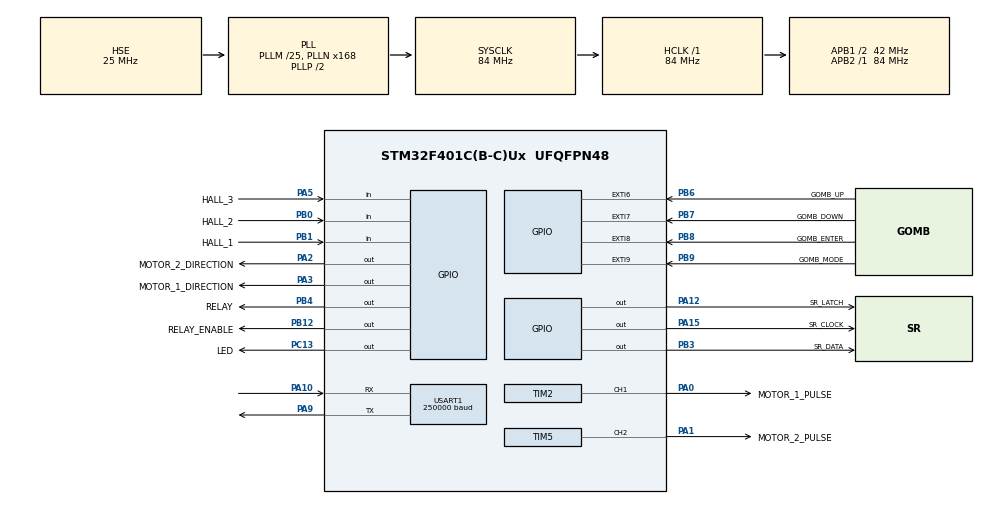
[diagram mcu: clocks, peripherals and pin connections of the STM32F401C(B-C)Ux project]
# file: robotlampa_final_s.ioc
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Mcu.Family=STM32F4
Mcu.Name=STM32F401C(B-C)Ux
Mcu.Package=UFQFPN48
NVIC.EXTI9_5_IRQn=true\:0\:0\:false\:false\:true\:true\:true\:true
NVIC.PriorityGroup=NVIC_PRIORITYGROUP_4
NVIC.TIM2_IRQn=true\:0\:0\:false\:false\:true\:true\:true\:true
NVIC.TIM5_IRQn=true\:0\:0\:false\:false\:true\:true\:true\:true
NVIC.USART1_IRQn=true\:0\:0\:false\:false\:true\:true\:true\:true
PA0-WKUP.GPIO_Label=MOTOR_1_PULSE
PA0-WKUP.GPIO_Speed=GPIO_SPEED_FREQ_VERY_HIGH
PA0-WKUP.Signal=S_TIM2_CH1_ETR
PA1.GPIO_Label=MOTOR_2_PULSE
PA1.GPIO_Speed=GPIO_SPEED_FREQ_VERY_HIGH
PA1.Signal=S_TIM5_CH2
PA10.Mode=Asynchronous
PA10.Signal=USART1_RX
PA12.GPIO_Label=SR_LATCH
PA12.GPIO_Speed=GPIO_SPEED_FREQ_VERY_HIGH
PA12.Signal=GPIO_Output
PA13.Mode=Serial_Wire
PA13.Signal=SYS_JTMS-SWDIO
PA14.Mode=Serial_Wire
PA14.Signal=SYS_JTCK-SWCLK
PA15.GPIO_Label=SR_CLOCK
PA15.GPIO_Speed=GPIO_SPEED_FREQ_VERY_HIGH
PA15.Signal=GPIO_Output
PA2.GPIO_Label=MOTOR_2_DIRECTION
PA2.GPIO_Speed=GPIO_SPEED_FREQ_VERY_HIGH
PA2.Signal=GPIO_Output
PA3.GPIO_Label=MOTOR_1_DIRECTION
PA3.GPIO_Speed=GPIO_SPEED_FREQ_VERY_HIGH
PA3.Signal=GPIO_Output
PA5.GPIO_Label=HALL_3
PA5.Signal=GPIO_Input
PA9.Mode=Asynchronous
PA9.Signal=USART1_TX
PB0.GPIO_Label=HALL_2
PB0.Signal=GPIO_Input
PB1.GPIO_Label=HALL_1
PB1.Signal=GPIO_Input
PB12.GPIO_Label=RELAY_ENABLE
PB12.GPIO_ModeDefaultOutputPP=GPIO_MODE_OUTPUT_OD
PB12.GPIO_PuPd=GPIO_NOPULL
PB12.PinState=GPIO_PIN_SET
PB12.Signal=GPIO_Output
PB3.GPIO_Label=SR_DATA
PB3.GPIO_Speed=GPIO_SPEED_FREQ_VERY_HIGH
PB3.Signal=GPIO_Output
PB4.GPIO_Label=RELAY
PB4.GPIO_Speed=GPIO_SPEED_FREQ_VERY_HIGH
PB4.Signal=GPIO_Output
PB6.GPIO_Label=GOMB_UP
PB6.GPIO_ModeDefaultEXTI=GPIO_MODE_IT_RISING_FALLING
PB6.GPIO_PuPd=GPIO_PULLUP
PB6.Signal=GPXTI6
PB7.GPIO_Label=GOMB_DOWN
PB7.GPIO_ModeDefaultEXTI=GPIO_MODE_IT_RISING_FALLING
PB7.GPIO_PuPd=GPIO_PULLUP
PB7.Signal=GPXTI7
PB8.GPIO_Label=GOMB_ENTER
PB8.GPIO_ModeDefaultEXTI=GPIO_MODE_IT_RISING_FALLING
PB8.GPIO_PuPd=GPIO_PULLUP
PB8.Signal=GPXTI8
PB9.GPIO_Label=GOMB_MODE
PB9.GPIO_ModeDefaultEXTI=GPIO_MODE_IT_RISING_FALLING
PB9.GPIO_PuPd=GPIO_PULLUP
PB9.Signal=GPXTI9
PC13-ANTI_TAMP.GPIO_Label=LED
PC13-ANTI_TAMP.GPIO_Speed=GPIO_SPEED_FREQ_LOW
PC13-ANTI_TAMP.Signal=GPIO_Output
PH0\ -\ OSC_IN.Mode=HSE-External-Oscillator
PH0\ -\ OSC_IN.Signal=RCC_OSC_IN
PH1\ -\ OSC_OUT.Mode=HSE-External-Oscillator
PH1\ -\ OSC_OUT.Signal=RCC_OSC_OUT
ProjectManager.HeapSize=0x200
ProjectManager.StackSize=0x400
ProjectManager.TargetToolchain=STM32CubeIDE
RCC.48MHZClocksFreq_Value=42000000
RCC.AHBFreq_Value=84000000
RCC.APB1CLKDivider=RCC_HCLK_DIV2
RCC.APB1Freq_Value=42000000
RCC.APB1TimFreq_Value=84000000
RCC.APB2Freq_Value=84000000
RCC.APB2TimFreq_Value=84000000
RCC.CortexFreq_Value=84000000
RCC.HCLKFreq_Value=84000000
RCC.HSE_Timout=1000
RCC.HSE_VALUE=25000000
RCC.HSI_VALUE=16000000
RCC.LSE_Timout=10000
RCC.LSE_VALUE=32768
RCC.PLLM=25
RCC.PLLN=168
RCC.PLLSourceVirtual=RCC_PLLSOURCE_HSE
RCC.RCC_TIM_PRescaler_Selection=RCC_TIMPRES_DESACTIVATED
RCC.SYSCLKFreq_VALUE=84000000
RCC.SYSCLKSource=RCC_SYSCLKSOURCE_PLLCLK
RCC.VCOOutputFreq_Value=168000000
SH.S_TIM2_CH1_ETR.0=TIM2_CH1,PWM Generation1 CH1
SH.S_TIM5_CH2.0=TIM5_CH2,PWM Generation2 CH2
TIM2.AutoReloadPreload=TIM_AUTORELOAD_PRELOAD_ENABLE
TIM2.Channel-PWM\ Generation1\ CH1=TIM_CHANNEL_1
TIM2.OCMode_PWM-PWM\ Generation1\ CH1=TIM_OCMODE_PWM1
TIM2.Period=840000
TIM2.Prescaler=0
TIM5.AutoReloadPreload=TIM_AUTORELOAD_PRELOAD_ENABLE
TIM5.Channel-PWM\ Generation2\ CH2=TIM_CHANNEL_2
TIM5.Period=840000
USART1.BaudRate=250000
USART1.StopBits=STOPBITS_2
USART1.VirtualMode=VM_ASYNC
VP_TIM2_VS_ClockSourceINT.Mode=Internal
board=custom

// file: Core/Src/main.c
/* USER CODE BEGIN Header */
/**
  ******************************************************************************
  * @file           : main.c
  * @brief          : Main program body
  ******************************************************************************
  * @attention
  *
  * Copyright (c) 2025 STMicroelectronics.
  * All rights reserved.
  *
  * This software is licensed under terms that can be found in the LICENSE file
  * in the root directory of this software component.
  * If no LICENSE file comes with this software, it is provided AS-IS.
  *
  ******************************************************************************
  */
/* USER CODE END Header */
#include "main.h"

/* USER CODE BEGIN Includes */
#include <my_main.h>
#include <interrupt_s.h>
#include <dmx_usart_s.h>
#include <motor_1_drive_s.h>
#include <motor_2_drive_s.h>
/* USER CODE END Includes */

TIM_HandleTypeDef htim2;
TIM_HandleTypeDef htim5;

UART_HandleTypeDef huart1;

/* USER CODE BEGIN PV */
uint8_t rx_buffer;

/* USER CODE END PV */

void SystemClock_Config(void);
static void MX_GPIO_Init(void);
static void MX_TIM2_Init(void);
static void MX_TIM5_Init(void);
static void MX_USART1_UART_Init(void);

int main(void)
{

  /* MCU Configuration--------------------------------------------------------*/

  /* Reset of all peripherals, Initializes the Flash interface and the Systick. */
  HAL_Init();

  /* Configure the system clock */
  SystemClock_Config();

  /* Initialize all configured peripherals */
  MX_GPIO_Init();
  MX_TIM2_Init();
  MX_TIM5_Init();
  MX_USART1_UART_Init();
  /* USER CODE BEGIN 2 */

  my_main_init();

  HAL_UART_Receive_IT(&huart1, &rx_buffer, 1);
  HAL_TIM_Base_Start_IT(&htim2);
  HAL_TIM_Base_Start_IT(&htim5);

  __HAL_TIM_SET_COMPARE(&htim2, TIM_CHANNEL_1, PWM_ON_DUTY); // set pwm duty
  HAL_TIM_PWM_Start(&htim2, TIM_CHANNEL_1);					 // start tim2 pwm channel
  htim2.Instance->CR1 &= ~TIM_CR1_ARPE; 					 // ARPE = 0 → shadow OFF

  __HAL_TIM_SET_COMPARE(&htim5, TIM_CHANNEL_2, PWM_ON_DUTY); // set pwm duty
  HAL_TIM_PWM_Start(&htim5, TIM_CHANNEL_2);					 // start tim5 pwm channel

  htim5.Instance->CR1 &= ~TIM_CR1_ARPE; 					 // ARPE = 0 → shadow OFF
  HAL_GPIO_WritePin(RELAY_ENABLE_GPIO_Port, RELAY_ENABLE_Pin, 0);

  /* USER CODE END 2 */

  /* Infinite loop */
  /* USER CODE BEGIN WHILE */
  while (1)
  {
	  my_main_loop();
    /* USER CODE END WHILE */

  }
}

void SystemClock_Config(void)
{
  RCC_OscInitTypeDef RCC_OscInitStruct = {0};
  RCC_ClkInitTypeDef RCC_ClkInitStruct = {0};

  /** Configure the main internal regulator output voltage
  */
  __HAL_RCC_PWR_CLK_ENABLE();
  __HAL_PWR_VOLTAGESCALING_CONFIG(PWR_REGULATOR_VOLTAGE_SCALE2);

  /** Initializes the RCC Oscillators according to the specified parameters
  * in the RCC_OscInitTypeDef structure.
  */
  RCC_OscInitStruct.OscillatorType = RCC_OSCILLATORTYPE_HSE;
  RCC_OscInitStruct.HSEState = RCC_HSE_ON;
  RCC_OscInitStruct.PLL.PLLState = RCC_PLL_ON;
  RCC_OscInitStruct.PLL.PLLSource = RCC_PLLSOURCE_HSE;
  RCC_OscInitStruct.PLL.PLLM = 25;
  RCC_OscInitStruct.PLL.PLLN = 168;
  RCC_OscInitStruct.PLL.PLLP = RCC_PLLP_DIV2;
  RCC_OscInitStruct.PLL.PLLQ = 4;
  if (HAL_RCC_OscConfig(&RCC_OscInitStruct) != HAL_OK)
  {
    Error_Handler();
  }

  /** Initializes the CPU, AHB and APB buses clocks
  */
  RCC_ClkInitStruct.ClockType = RCC_CLOCKTYPE_HCLK|RCC_CLOCKTYPE_SYSCLK
                              |RCC_CLOCKTYPE_PCLK1|RCC_CLOCKTYPE_PCLK2;
  RCC_ClkInitStruct.SYSCLKSource = RCC_SYSCLKSOURCE_PLLCLK;
  RCC_ClkInitStruct.AHBCLKDivider = RCC_SYSCLK_DIV1;
  RCC_ClkInitStruct.APB1CLKDivider = RCC_HCLK_DIV2;
  RCC_ClkInitStruct.APB2CLKDivider = RCC_HCLK_DIV1;

  if (HAL_RCC_ClockConfig(&RCC_ClkInitStruct, FLASH_LATENCY_2) != HAL_OK)
  {
    Error_Handler();
  }
}

static void MX_TIM2_Init(void)
{

  TIM_ClockConfigTypeDef sClockSourceConfig = {0};
  TIM_MasterConfigTypeDef sMasterConfig = {0};
  TIM_OC_InitTypeDef sConfigOC = {0};

  htim2.Instance = TIM2;
  htim2.Init.Prescaler = 0;
  htim2.Init.CounterMode = TIM_COUNTERMODE_UP;
  htim2.Init.Period = 840000;
  htim2.Init.ClockDivision = TIM_CLOCKDIVISION_DIV1;
  htim2.Init.AutoReloadPreload = TIM_AUTORELOAD_PRELOAD_ENABLE;
  if (HAL_TIM_Base_Init(&htim2) != HAL_OK)
  {
    Error_Handler();
  }
  sClockSourceConfig.ClockSource = TIM_CLOCKSOURCE_INTERNAL;
  if (HAL_TIM_ConfigClockSource(&htim2, &sClockSourceConfig) != HAL_OK)
  {
    Error_Handler();
  }
  if (HAL_TIM_PWM_Init(&htim2) != HAL_OK)
  {
    Error_Handler();
  }
  sMasterConfig.MasterOutputTrigger = TIM_TRGO_RESET;
  sMasterConfig.MasterSlaveMode = TIM_MASTERSLAVEMODE_DISABLE;
  if (HAL_TIMEx_MasterConfigSynchronization(&htim2, &sMasterConfig) != HAL_OK)
  {
    Error_Handler();
  }
  sConfigOC.OCMode = TIM_OCMODE_PWM1;
  sConfigOC.Pulse = 0;
  sConfigOC.OCPolarity = TIM_OCPOLARITY_HIGH;
  sConfigOC.OCFastMode = TIM_OCFAST_DISABLE;
  if (HAL_TIM_PWM_ConfigChannel(&htim2, &sConfigOC, TIM_CHANNEL_1) != HAL_OK)
  {
    Error_Handler();
  }
  HAL_TIM_MspPostInit(&htim2);

}

static void MX_TIM5_Init(void)
{

  TIM_MasterConfigTypeDef sMasterConfig = {0};
  TIM_OC_InitTypeDef sConfigOC = {0};

  htim5.Instance = TIM5;
  htim5.Init.Prescaler = 0;
  htim5.Init.CounterMode = TIM_COUNTERMODE_UP;
  htim5.Init.Period = 840000;
  htim5.Init.ClockDivision = TIM_CLOCKDIVISION_DIV1;
  htim5.Init.AutoReloadPreload = TIM_AUTORELOAD_PRELOAD_ENABLE;
  if (HAL_TIM_PWM_Init(&htim5) != HAL_OK)
  {
    Error_Handler();
  }
  sMasterConfig.MasterOutputTrigger = TIM_TRGO_RESET;
  sMasterConfig.MasterSlaveMode = TIM_MASTERSLAVEMODE_DISABLE;
  if (HAL_TIMEx_MasterConfigSynchronization(&htim5, &sMasterConfig) != HAL_OK)
  {
    Error_Handler();
  }
  sConfigOC.OCMode = TIM_OCMODE_PWM1;
  sConfigOC.Pulse = 0;
  sConfigOC.OCPolarity = TIM_OCPOLARITY_HIGH;
  sConfigOC.OCFastMode = TIM_OCFAST_DISABLE;
  if (HAL_TIM_PWM_ConfigChannel(&htim5, &sConfigOC, TIM_CHANNEL_2) != HAL_OK)
  {
    Error_Handler();
  }
  HAL_TIM_MspPostInit(&htim5);

}

static void MX_USART1_UART_Init(void)
{

  huart1.Instance = USART1;
  huart1.Init.BaudRate = 250000;
  huart1.Init.WordLength = UART_WORDLENGTH_8B;
  huart1.Init.StopBits = UART_STOPBITS_2;
  huart1.Init.Parity = UART_PARITY_NONE;
  huart1.Init.Mode = UART_MODE_TX_RX;
  huart1.Init.HwFlowCtl = UART_HWCONTROL_NONE;
  huart1.Init.OverSampling = UART_OVERSAMPLING_16;
  if (HAL_UART_Init(&huart1) != HAL_OK)
  {
    Error_Handler();
  }

}

static void MX_GPIO_Init(void)
{
  GPIO_InitTypeDef GPIO_InitStruct = {0};

  /* GPIO Ports Clock Enable */
  __HAL_RCC_GPIOC_CLK_ENABLE();
  __HAL_RCC_GPIOH_CLK_ENABLE();
  __HAL_RCC_GPIOA_CLK_ENABLE();
  __HAL_RCC_GPIOB_CLK_ENABLE();

  /*Configure GPIO pin Output Level */
  HAL_GPIO_WritePin(LED_GPIO_Port, LED_Pin, GPIO_PIN_RESET);

  /*Configure GPIO pin Output Level */
  HAL_GPIO_WritePin(GPIOA, MOTOR_2_DIRECTION_Pin|MOTOR_1_DIRECTION_Pin|SR_LATCH_Pin|SR_CLOCK_Pin, GPIO_PIN_RESET);

  /*Configure GPIO pin Output Level */
  HAL_GPIO_WritePin(RELAY_ENABLE_GPIO_Port, RELAY_ENABLE_Pin, GPIO_PIN_SET);

  /*Configure GPIO pin Output Level */
  HAL_GPIO_WritePin(GPIOB, SR_DATA_Pin|RELAY_Pin, GPIO_PIN_RESET);

  /*Configure GPIO pin : LED_Pin */
  GPIO_InitStruct.Pin = LED_Pin;
  GPIO_InitStruct.Mode = GPIO_MODE_OUTPUT_PP;
  GPIO_InitStruct.Pull = GPIO_NOPULL;
  GPIO_InitStruct.Speed = GPIO_SPEED_FREQ_LOW;
  HAL_GPIO_Init(LED_GPIO_Port, &GPIO_InitStruct);

  /*Configure GPIO pins : MOTOR_2_DIRECTION_Pin MOTOR_1_DIRECTION_Pin SR_LATCH_Pin SR_CLOCK_Pin */
  GPIO_InitStruct.Pin = MOTOR_2_DIRECTION_Pin|MOTOR_1_DIRECTION_Pin|SR_LATCH_Pin|SR_CLOCK_Pin;
  GPIO_InitStruct.Mode = GPIO_MODE_OUTPUT_PP;
  GPIO_InitStruct.Pull = GPIO_NOPULL;
  GPIO_InitStruct.Speed = GPIO_SPEED_FREQ_VERY_HIGH;
  HAL_GPIO_Init(GPIOA, &GPIO_InitStruct);

  /*Configure GPIO pin : HALL_3_Pin */
  GPIO_InitStruct.Pin = HALL_3_Pin;
  GPIO_InitStruct.Mode = GPIO_MODE_INPUT;
  GPIO_InitStruct.Pull = GPIO_NOPULL;
  HAL_GPIO_Init(HALL_3_GPIO_Port, &GPIO_InitStruct);

  /*Configure GPIO pins : HALL_2_Pin HALL_1_Pin */
  GPIO_InitStruct.Pin = HALL_2_Pin|HALL_1_Pin;
  GPIO_InitStruct.Mode = GPIO_MODE_INPUT;
  GPIO_InitStruct.Pull = GPIO_NOPULL;
  HAL_GPIO_Init(GPIOB, &GPIO_InitStruct);

  /*Configure GPIO pin : RELAY_ENABLE_Pin */
  GPIO_InitStruct.Pin = RELAY_ENABLE_Pin;
  GPIO_InitStruct.Mode = GPIO_MODE_OUTPUT_OD;
  GPIO_InitStruct.Pull = GPIO_NOPULL;
  GPIO_InitStruct.Speed = GPIO_SPEED_FREQ_LOW;
  HAL_GPIO_Init(RELAY_ENABLE_GPIO_Port, &GPIO_InitStruct);

  /*Configure GPIO pins : SR_DATA_Pin RELAY_Pin */
  GPIO_InitStruct.Pin = SR_DATA_Pin|RELAY_Pin;
  GPIO_InitStruct.Mode = GPIO_MODE_OUTPUT_PP;
  GPIO_InitStruct.Pull = GPIO_NOPULL;
  GPIO_InitStruct.Speed = GPIO_SPEED_FREQ_VERY_HIGH;
  HAL_GPIO_Init(GPIOB, &GPIO_InitStruct);

  /*Configure GPIO pins : GOMB_UP_Pin GOMB_DOWN_Pin GOMB_ENTER_Pin GOMB_MODE_Pin */
  GPIO_InitStruct.Pin = GOMB_UP_Pin|GOMB_DOWN_Pin|GOMB_ENTER_Pin|GOMB_MODE_Pin;
  GPIO_InitStruct.Mode = GPIO_MODE_IT_RISING_FALLING;
  GPIO_InitStruct.Pull = GPIO_PULLUP;
  HAL_GPIO_Init(GPIOB, &GPIO_InitStruct);

  /* EXTI interrupt init*/
  HAL_NVIC_SetPriority(EXTI9_5_IRQn, 0, 0);
  HAL_NVIC_EnableIRQ(EXTI9_5_IRQn);

}

/* USER CODE BEGIN 4 */
void HAL_GPIO_EXTI_Callback(uint16_t GPIO_Pin)
{
	ISR_GPIO_EXTI_Callback(GPIO_Pin);
}

void HAL_UART_RxCpltCallback(UART_HandleTypeDef *huart)
{
	if (huart->Instance == USART1)						// usart 1 receive
	{
		usart_rx_callback(rx_buffer);					// --> dmx_usart, feldolgozás
		HAL_UART_Receive_IT(&huart1, &rx_buffer, 1);	// start IT
	}
}

void HAL_UART_ErrorCallback(UART_HandleTypeDef *huart)
{
	if (huart->Instance == USART1)						// usart 1 error callback
	{
		usart_rx_fe_callback();							// --> dmx_usart, reset frame
		HAL_UART_Receive_IT(&huart1, &rx_buffer, 1);	// start IT
	}
}

void usart_transmit(uint8_t *data)
{
	HAL_UART_Transmit(&huart1, data, 1, 10);
}

void tim_2_set_duty(uint8_t duty)
{
	if(duty) __HAL_TIM_SET_COMPARE(&htim2, TIM_CHANNEL_1, PWM_ON_DUTY);
	else 	 __HAL_TIM_SET_COMPARE(&htim2, TIM_CHANNEL_1, PWM_OFF_DUTY);
}

uint32_t tim_2_get_value(void)
{
	return __HAL_TIM_GET_COUNTER(&htim2);
}

void tim_2_set_period(uint32_t period)
{
	__HAL_TIM_SET_AUTORELOAD(&htim2, period);
}

uint32_t tim_5_get_value(void)
{
	return __HAL_TIM_GET_COUNTER(&htim5);
}

void tim_5_set_duty(uint8_t duty)
{
	if(duty) __HAL_TIM_SET_COMPARE(&htim5, TIM_CHANNEL_2, PWM_ON_DUTY);
	else 	 __HAL_TIM_SET_COMPARE(&htim5, TIM_CHANNEL_2, PWM_OFF_DUTY);
}

void tim_5_set_period(uint32_t period)
{
	__HAL_TIM_SET_AUTORELOAD(&htim5, period);
}

void HAL_TIM_PeriodElapsedCallback(TIM_HandleTypeDef *htim)
{
    if(htim->Instance == TIM2)
    {
    	motor_1_update_timer();
    }

    if(htim->Instance == TIM5)
	{
		motor_2_update_timer();
	}
}
/* USER CODE END 4 */

void Error_Handler(void)
{
  __disable_irq();
  while (1)
  {
  }
}
